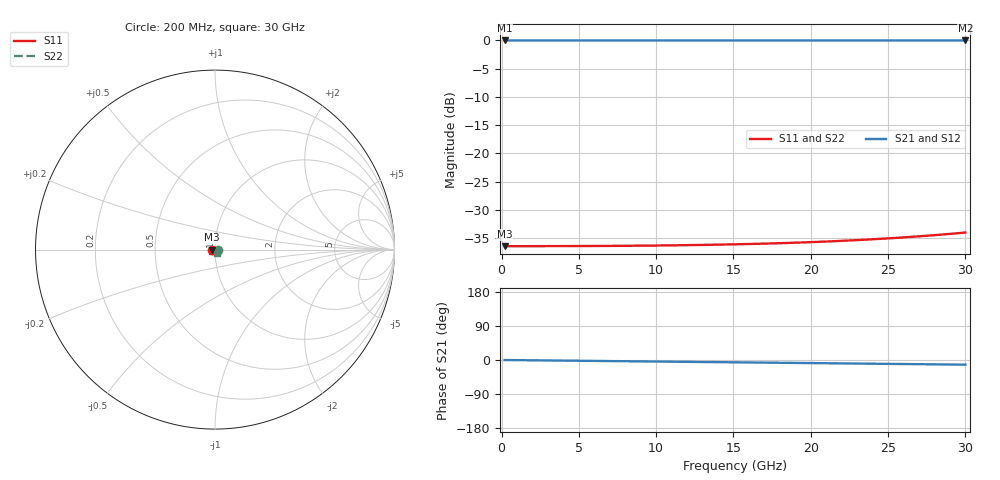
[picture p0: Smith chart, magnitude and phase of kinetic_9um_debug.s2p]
! Touchstone file exported from HFSS 2026.1.0
!  Generated:  11:53:30 AM Aug 24, 2026
!  Design:  HFSSDesign_Kinetic_debug
!  Project:  kinetic_stub_sweep
!  Setup:  Setup1
!  Solution:  Sweep_discrete_debug
! Variables:
!  stub_length = 2.5um
# GHz S MA R 50.000000
! Terminal data exported
! Port[1] = Port1
! Port[2] = Port2
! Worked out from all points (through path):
!   61 points, 200 MHz to 30 GHz, reference 50 ohm
!   highest |S21| = 0.00 dB at 200 MHz (marker M1); lowest = 0.0 dB at 30 GHz (marker M2)
!   group delay of S21, straight-line fit = 1.14 ps
!   lowest |S11| = -36.5 dB at 200 MHz (marker M3), VSWR 1.03, Z = 48.5 - j0.00284 ohm
!   |S11| at or under -10 dB: start of sweep to end of sweep
!   |S22| runs from -36.5 to -34.0 dB; largest |S21 - S12| = 1.2e-12
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0.2  0.01504 -179.9  0.9999 -0.1  0.9999 -0.1  0.01504 -0.3
! Gamma 0 166.582845423964 0 169.093580203573
! Port Impedance 50 0 50 0
2.683333  0.01505 -178.5  0.9999 -1.1  0.9999 -1.1  0.01505 -3.7
5.166667  0.01508 -177.0  0.9999 -2.1  0.9999 -2.1  0.01508 -7.1
8.146667  0.01516 -175.1  0.9999 -3.3  0.9999 -3.3  0.01516 -11.5
10.63  0.01527 -173.2  0.9999 -4.3  0.9999 -4.3  0.01527 -15.3
11.62333  0.01533 -172.4  0.9999 -4.7  0.9999 -4.7  0.01533 -17.0
13.11333  0.01544 -171.2  0.9999 -5.3  0.9999 -5.3  0.01544 -19.4
15.1  0.01562 -169.3  0.9999 -6.1  0.9999 -6.1  0.01562 -23.0
16.59  0.01579 -167.7  0.9999 -6.7  0.9999 -6.7  0.01579 -25.7
17.58333  0.01592 -166.6  0.9999 -7.1  0.9999 -7.1  0.01592 -27.6
19.07333  0.01616 -164.9  0.9999 -7.7  0.9999 -7.7  0.01616 -30.6
20.06667  0.01634 -163.7  0.9999 -8.2  0.9999 -8.2  0.01634 -32.6
21.55667  0.01666 -161.8  0.9999 -8.8  0.9999 -8.8  0.01666 -35.8
22.55  0.01691 -160.4  0.9999 -9.2  0.9999 -9.2  0.01691 -37.9
24.04  0.01733 -158.4  0.9998 -9.8  0.9998 -9.8  0.01733 -41.2
25.03333  0.01764 -157.0  0.9998 -10.2  0.9998 -10.2  0.01764 -43.5
25.53  0.01781 -156.3  0.9998 -10.4  0.9998 -10.4  0.01781 -44.6
26.52333  0.01819 -154.8  0.9998 -10.8  0.9998 -10.8  0.01819 -46.9
27.51667  0.01862 -153.4  0.9998 -11.3  0.9998 -11.3  0.01862 -49.2
28.51  0.01908 -151.9  0.9998 -11.7  0.9998 -11.7  0.01908 -51.5
29.00667  0.01933 -151.2  0.9998 -11.9  0.9998 -11.9  0.01933 -52.6
30  0.01986 -149.8  0.9998 -12.3  0.9998 -12.3  0.01986 -54.9
